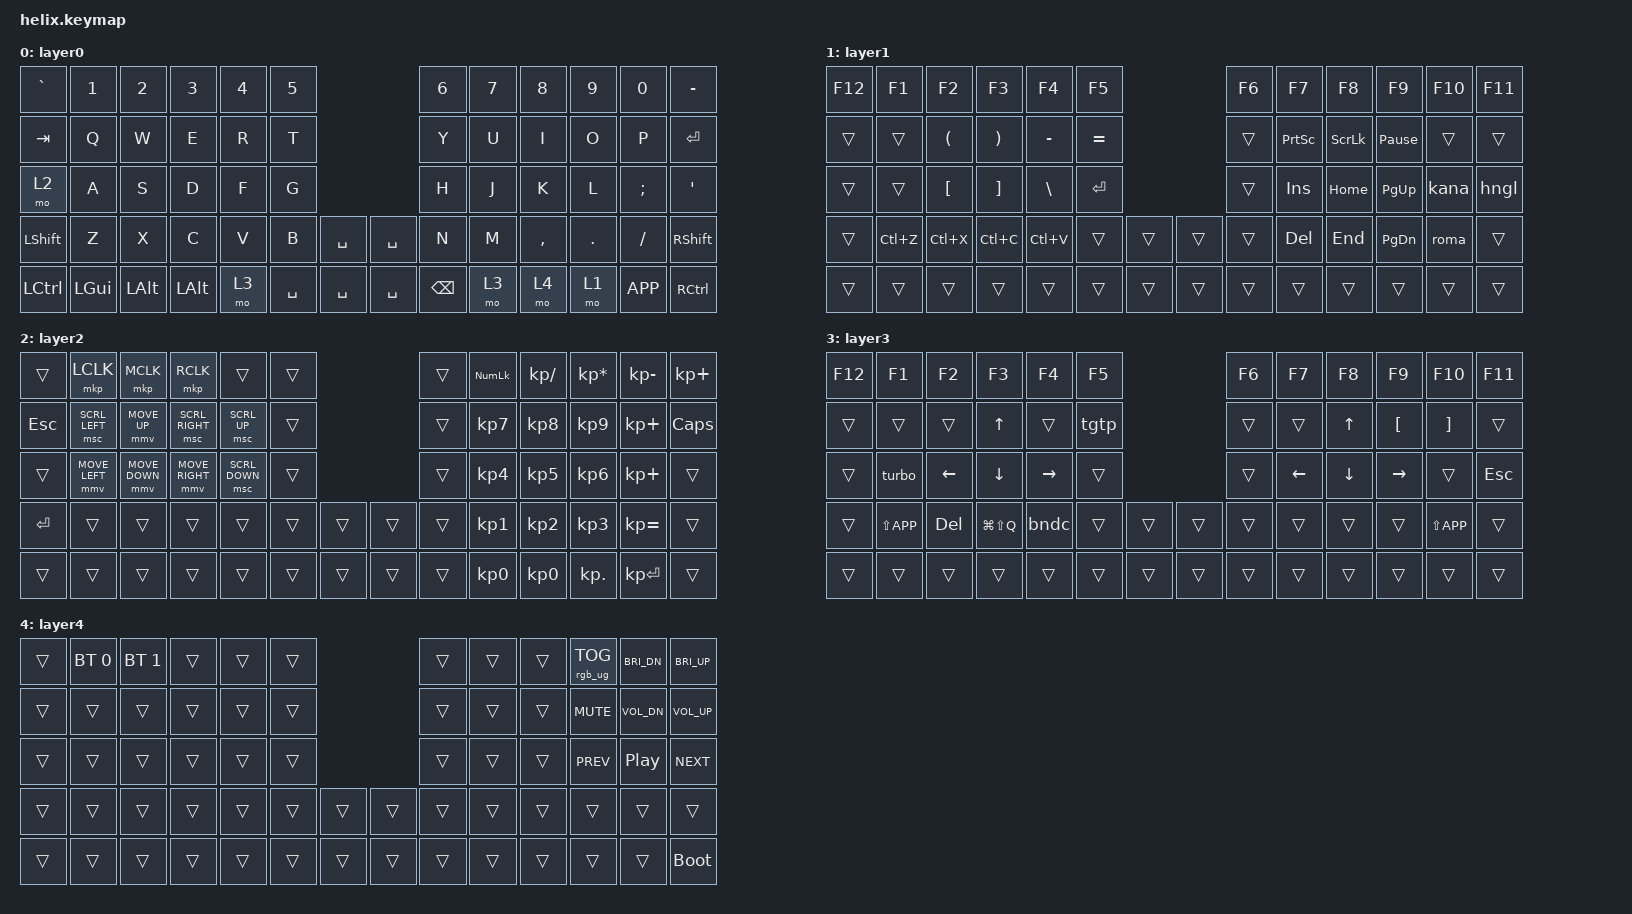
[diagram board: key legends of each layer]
/*
 * Helix ZMK keymap (12/12/12/14/14 = 64 keys)
 * Converted from a QMK Preonic keymap.c
 *
 * Requires a ZMK version with pointing device (mouse) support for &mmv / &msc / &mkp.
 * If your build has no mouse support, remove the pointing.h include and replace
 * those bindings with &none.
 */

#include <behaviors.dtsi>
#include <dt-bindings/zmk/keys.h>
#include <dt-bindings/zmk/bt.h>
#include <dt-bindings/zmk/rgb.h>
#include <dt-bindings/zmk/outputs.h>
#include <dt-bindings/zmk/pointing.h>

#define L0 0
#define L1 1
#define L2 2
#define L3 3
#define L4 4

/ {
    macros {
        /* Bandicam capture: Ctrl+Shift+Alt+S (with hold delay, as in the original) */
        bndc: bndc {
            compatible = "zmk,behavior-macro";
            #binding-cells = <0>;
            wait-ms = <30>;
            tap-ms = <100>;
            bindings
                = <&macro_press &kp LCTRL &kp LSHFT &kp LALT>
                , <&macro_tap &kp S>
                , <&macro_release &kp LALT &kp LSHFT &kp LCTRL>;
        };

        /* Always-on-top toggle: Ctrl+Win+T (matches the original C code, not its comment) */
        tgtp: tgtp {
            compatible = "zmk,behavior-macro";
            #binding-cells = <0>;
            wait-ms = <30>;
            tap-ms = <100>;
            bindings
                = <&macro_press &kp LCTRL &kp LGUI>
                , <&macro_tap &kp T>
                , <&macro_release &kp LGUI &kp LCTRL>;
        };

        /* IME: Ctrl+Shift+1, then Lang1 (Kana) */
        kana: kana {
            compatible = "zmk,behavior-macro";
            #binding-cells = <0>;
            wait-ms = <30>;
            tap-ms = <50>;
            bindings
                = <&macro_press &kp LCTRL &kp LSHFT>
                , <&macro_tap &kp N1>
                , <&macro_release &kp LSHFT &kp LCTRL>
                , <&macro_tap &kp LANG1>;
        };

        /* IME: Ctrl+Shift+1, then Lang2 (Romaji) */
        roma: roma {
            compatible = "zmk,behavior-macro";
            #binding-cells = <0>;
            wait-ms = <30>;
            tap-ms = <50>;
            bindings
                = <&macro_press &kp LCTRL &kp LSHFT>
                , <&macro_tap &kp N1>
                , <&macro_release &kp LSHFT &kp LCTRL>
                , <&macro_tap &kp LANG2>;
        };

        /* IME: Ctrl+Shift+1, Lang1, then Ctrl+Shift+2 (Hangul) */
        hngl: hngl {
            compatible = "zmk,behavior-macro";
            #binding-cells = <0>;
            wait-ms = <30>;
            tap-ms = <50>;
            bindings
                = <&macro_press &kp LCTRL &kp LSHFT>
                , <&macro_tap &kp N1>
                , <&macro_release &kp LSHFT &kp LCTRL>
                , <&macro_tap &kp LANG1>
                , <&macro_press &kp LCTRL &kp LSHFT>
                , <&macro_tap &kp N2>
                , <&macro_release &kp LSHFT &kp LCTRL>;
        };

        /*
         * Mouse turbo click.
         * ZMK has no toggling auto-repeat behavior, so this fires a fixed burst
         * of 10 left clicks per press instead. Adjust tap-ms/wait-ms for speed.
         */
        turbo: turbo {
            compatible = "zmk,behavior-macro";
            #binding-cells = <0>;
            wait-ms = <20>;
            tap-ms = <20>;
            bindings
                = <&macro_tap &mkp LCLK &mkp LCLK &mkp LCLK &mkp LCLK &mkp LCLK>
                , <&macro_tap &mkp LCLK &mkp LCLK &mkp LCLK &mkp LCLK &mkp LCLK>;
        };
    };

    keymap {
        compatible = "zmk,keymap";

/* LAYER 0 - base
 * +------+------+------+------+------+------+             +------+------+------+------+------+------+
 * |   `  |   1  |   2  |   3  |   4  |   5  |             |   6  |   7  |   8  |   9  |   0  |  -   |
 * | Tab  |   Q  |   W  |   E  |   R  |   T  |             |   Y  |   U  |   I  |   O  |   P  |Enter |
 * | MO(2)|   A  |   S  |   D  |   F  |   G  |             |   H  |   J  |   K  |   L  |   ;  |   '  |
 * | Shft |   Z  |   X  |   C  |   V  |   B  | Spc  | Spc  |   N  |   M  |   ,  |   .  |   /  | Shft |
 * | Ctrl | Gui  | Alt  | Alt  | MO(3)| Spc  | Spc  | Spc  | Bksp | MO(3)| MO(4)| MO(1)| App  | Ctrl |
 * +------+------+------+------+------+------+------+------+------+------+------+------+------+------+
 */
        layer0 {
            bindings = <
&kp GRAVE  &kp N1     &kp N2     &kp N3     &kp N4     &kp N5                           &kp N6     &kp N7     &kp N8     &kp N9     &kp N0     &kp MINUS
&kp TAB    &kp Q      &kp W      &kp E      &kp R      &kp T                            &kp Y      &kp U      &kp I      &kp O      &kp P      &kp ENTER
&mo L2     &kp A      &kp S      &kp D      &kp F      &kp G                            &kp H      &kp J      &kp K      &kp L      &kp SEMI   &kp SQT
&kp LSHFT  &kp Z      &kp X      &kp C      &kp V      &kp B      &kp SPACE  &kp SPACE  &kp N      &kp M      &kp COMMA  &kp DOT    &kp FSLH   &kp RSHFT
&kp LCTRL  &kp LGUI   &kp LALT   &kp LALT   &mo L3     &kp SPACE  &kp SPACE  &kp SPACE  &kp BSPC   &mo L3     &mo L4     &mo L1     &kp K_APP  &kp RCTRL
            >;
        };

/* LAYER 1 - function / navigation
 * +------+------+------+------+------+------+             +------+------+------+------+------+------+
 * | F12  |  F1  |  F2  |  F3  |  F4  |  F5  |             |  F6  |  F7  |  F8  |  F9  | F10  | F11  |
 * |      |      |  (   |  )   |  -   |  =   |             |      |PrtScn|ScrLk | Paus |      |      |
 * |      |      |  [   |  ]   |  \   |Enter |             | Ins  | Home | PgUp | KANA | HNGL |      |
 * |      |Ctrl+Z|Ctrl+X|Ctrl+C|Ctrl+V|      |      |      | Del  | End  | PgDn | ROMA |      |      |
 * |      |      |      |      |      |      |      |      |      |      |      |      |      |      |
 * +------+------+------+------+------+------+------+------+------+------+------+------+------+------+
 */
        layer1 {
            bindings = <
&kp F12          &kp F1           &kp F2           &kp F3           &kp F4           &kp F5                                             &kp F6           &kp F7           &kp F8           &kp F9           &kp F10          &kp F11
&trans           &trans           &kp LPAR         &kp RPAR         &kp MINUS        &kp EQUAL                                          &trans           &kp PSCRN        &kp SLCK         &kp PAUSE_BREAK  &trans           &trans
&trans           &trans           &kp LBKT         &kp RBKT         &kp BSLH         &kp ENTER                                          &trans           &kp INS          &kp HOME         &kp PG_UP        &kana            &hngl
&trans           &kp LC(Z)        &kp LC(X)        &kp LC(C)        &kp LC(V)        &trans           &trans           &trans           &trans           &kp DEL          &kp END          &kp PG_DN        &roma            &trans
&trans           &trans           &trans           &trans           &trans           &trans           &trans           &trans           &trans           &trans           &trans           &trans           &trans           &trans
            >;
        };

/* LAYER 2 - mouse / numpad
 * +------+------+------+------+------+------+             +------+------+------+------+------+------+
 * |      | MS B1| MS B3| MS B2|      |      |             | #Lk  |   /  |   *  |  -   |  +   |      |
 * | Esc  |WH Lft|MS Up |WH Rgt|WH Up |      |             |  7   |  8   |  9   |  +   | Caps |      |
 * |      |MS Lft|MS Dwn|MS Rgt|WH Dwn|      |             |  4   |  5   |  6   |  +   |      |      |
 * |Enter |      |      |      |      |      |      |      |  1   |  2   |  3   |  =   |      |      |
 * |      |      |      |      |      |      |      |      |  0   |  0   |  .   | Entr |      |      |
 * +------+------+------+------+------+------+------+------+------+------+------+------+------+------+
 */
        layer2 {
            bindings = <
&trans           &mkp LCLK        &mkp MCLK        &mkp RCLK        &trans           &trans                                             &trans           &kp KP_NUM       &kp KP_DIVIDE    &kp KP_MULTIPLY  &kp KP_MINUS     &kp KP_PLUS
&kp ESC          &msc SCRL_LEFT   &mmv MOVE_UP     &msc SCRL_RIGHT  &msc SCRL_UP     &trans                                             &trans           &kp KP_N7        &kp KP_N8        &kp KP_N9        &kp KP_PLUS      &kp CAPS
&trans           &mmv MOVE_LEFT   &mmv MOVE_DOWN   &mmv MOVE_RIGHT  &msc SCRL_DOWN   &trans                                             &trans           &kp KP_N4        &kp KP_N5        &kp KP_N6        &kp KP_PLUS      &trans
&kp ENTER        &trans           &trans           &trans           &trans           &trans           &trans           &trans           &trans           &kp KP_N1        &kp KP_N2        &kp KP_N3        &kp KP_EQUAL     &trans
&trans           &trans           &trans           &trans           &trans           &trans           &trans           &trans           &trans           &kp KP_N0        &kp KP_N0        &kp KP_DOT       &kp KP_ENTER     &trans
            >;
        };

/* LAYER 3 - arrows / shortcuts
 * +------+------+------+------+------+------+             +------+------+------+------+------+------+
 * | F12  |  F1  |  F2  |  F3  |  F4  |  F5  |             |  F6  |  F7  |  F8  |  F9  | F10  | F11  |
 * |      |      |      |  Up  |      | TGTP |             |      |      |  Up  |  [   |  ]   |      |
 * |      |TURBO | Left | Down |Right |      |             |      | Left | Down |Right |      | Esc  |
 * |      |SMenu | Del  | SHRX | BNDC |      |      |      |      |      |      |      |SMenu |      |
 * |      |      |      |      |      |      |      |      |      |      |      |      |      |      |
 * +------+------+------+------+------+------+------+------+------+------+------+------+------+------+
 */
        layer3 {
            bindings = <
&kp F12         &kp F1          &kp F2          &kp F3          &kp F4          &kp F5                                          &kp F6          &kp F7          &kp F8          &kp F9          &kp F10         &kp F11
&trans          &trans          &trans          &kp UP          &trans          &tgtp                                           &trans          &trans          &kp UP          &kp LBKT        &kp RBKT        &trans
&trans          &turbo          &kp LEFT        &kp DOWN        &kp RIGHT       &trans                                          &trans          &kp LEFT        &kp DOWN        &kp RIGHT       &trans          &kp ESC
&trans          &kp LS(K_APP)   &kp DEL         &kp LG(LS(Q))   &bndc           &trans          &trans          &trans          &trans          &trans          &trans          &trans          &kp LS(K_APP)   &trans
&trans          &trans          &trans          &trans          &trans          &trans          &trans          &trans          &trans          &trans          &trans          &trans          &trans          &trans
            >;
        };

/* LAYER 4 - media / system
 * +------+------+------+------+------+------+             +------+------+------+------+------+------+
 * |      |      |      |      |      |      |             |      |      |RGB Tg| Brt- | Brt+ |
 * |      |      |      |      |      |      |             |      |      | Mute | Vol- | Vol+ |
 * |      |      |      |      |      |      |             |      |      | Prev |Ply/Ps| Next |
 * |      |      |      |      |      |      |      |      |      |      |      |      |      |      |
 * |      |      |      |      |      |      |      |      |      |      |      |      |      |Reset |
 * +------+------+------+------+------+------+------+------+------+------+------+------+------+------+
 */
        layer4 {
            bindings = <
&trans           &bt BT_SEL 0     &bt BT_SEL 1     &trans           &trans           &trans                                             &trans           &trans           &trans           &rgb_ug RGB_TOG  &kp C_BRI_DN     &kp C_BRI_UP
&trans           &trans           &trans           &trans           &trans           &trans                                             &trans           &trans           &trans           &kp C_MUTE       &kp C_VOL_DN     &kp C_VOL_UP
&trans           &trans           &trans           &trans           &trans           &trans                                             &trans           &trans           &trans           &kp C_PREV       &kp C_PP         &kp C_NEXT
&trans           &trans           &trans           &trans           &trans           &trans           &trans           &trans           &trans           &trans           &trans           &trans           &trans           &trans
&trans           &trans           &trans           &trans           &trans           &trans           &trans           &trans           &trans           &trans           &trans           &trans           &trans           &bootloader
            >;
        };
    };
};
